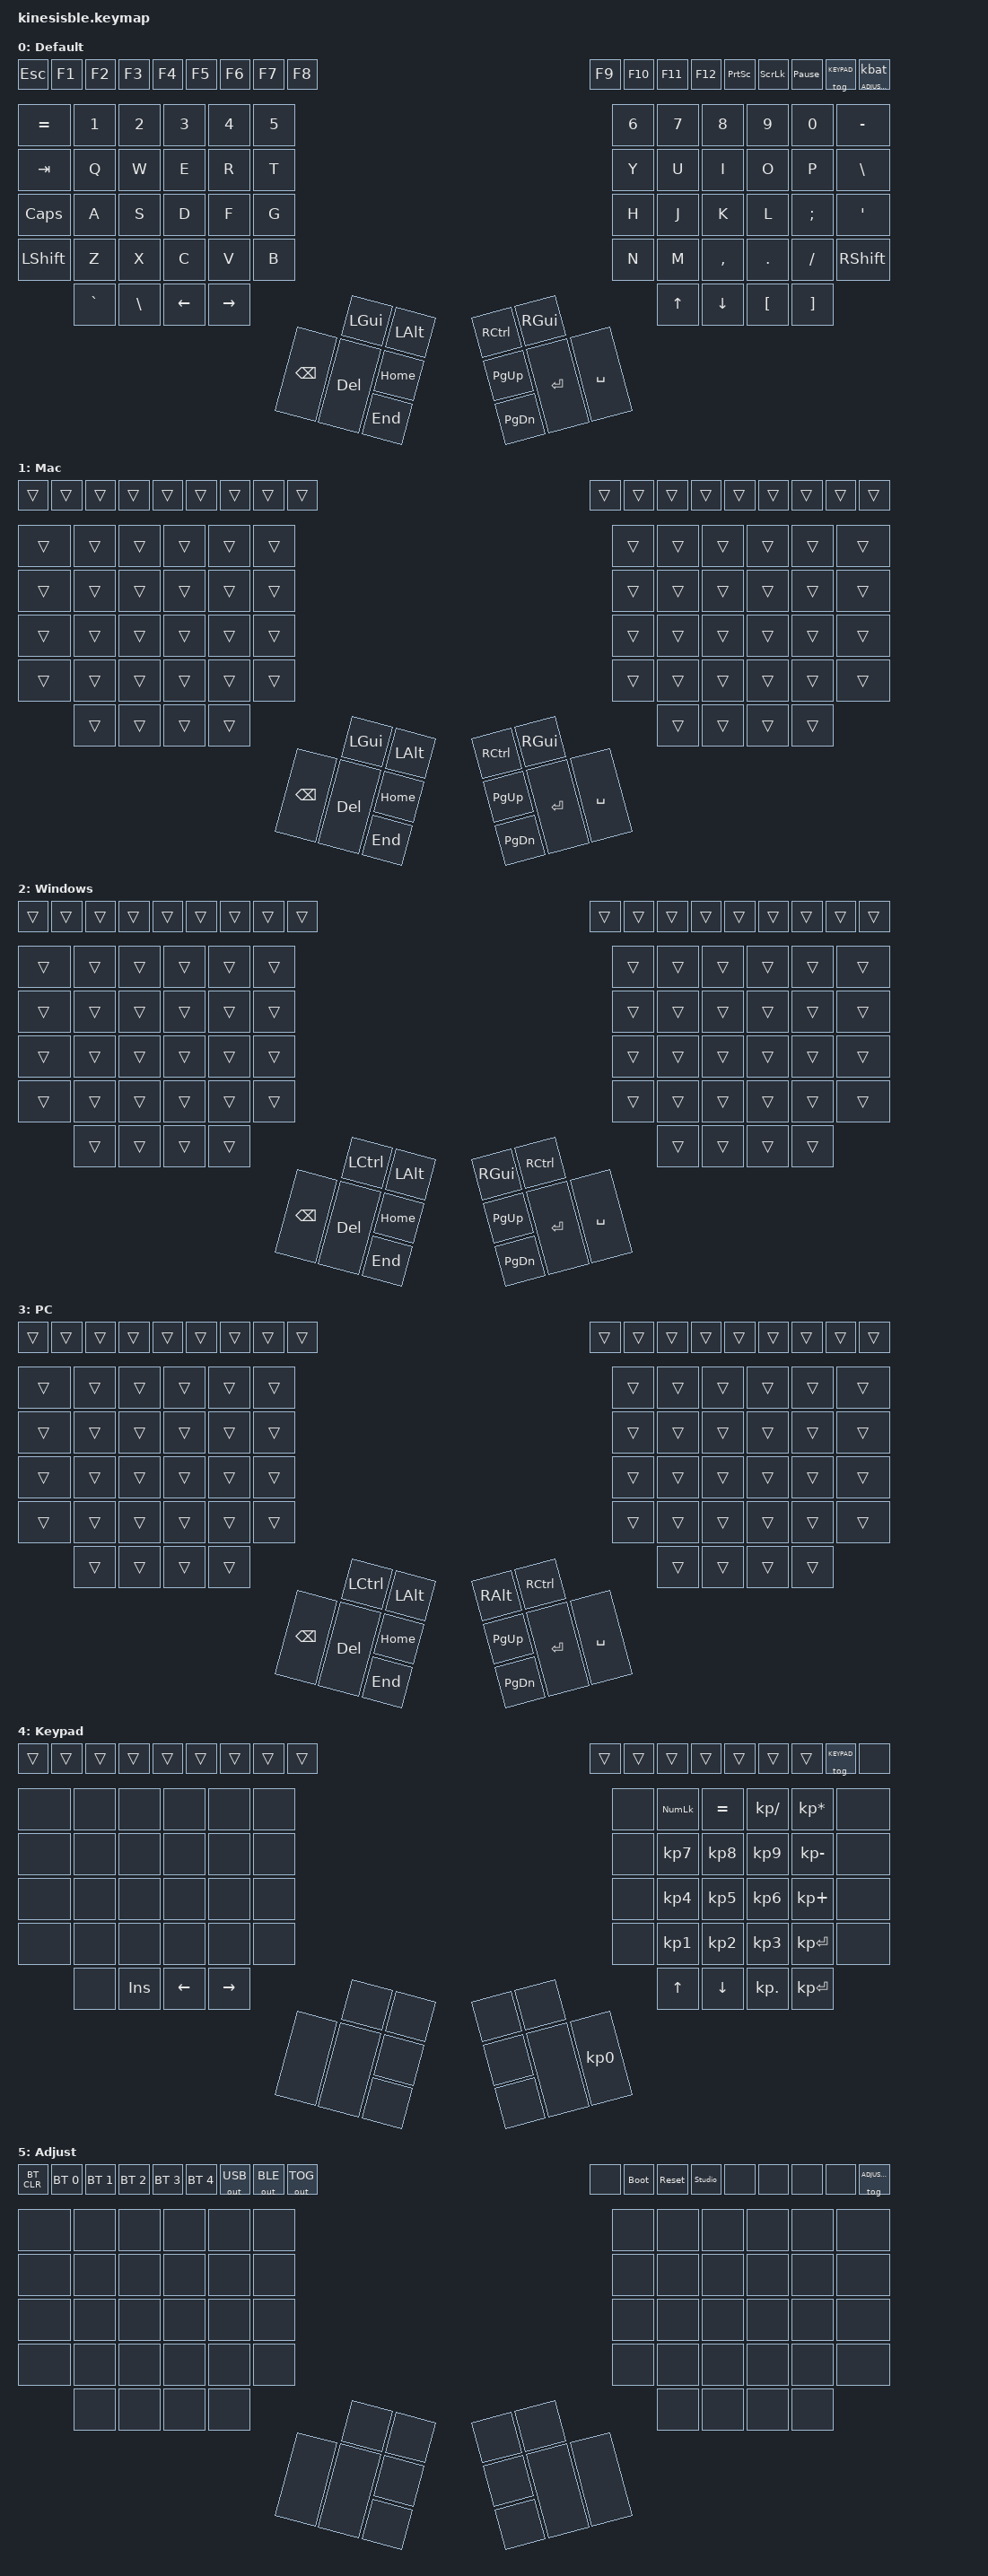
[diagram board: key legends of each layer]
/*
 * Copyright (c) 2021 The ZMK Contributors
 *
 * SPDX-License-Identifier: MIT
 */

#include <behaviors.dtsi>
#include <dt-bindings/zmk/keys.h>
#include <dt-bindings/zmk/bt.h>
#include <dt-bindings/zmk/outputs.h>

#define DEFAULT 0
#define MAC   1
#define WINDOWS   2
#define PC   3
#define KEYPAD   4
#define ADJUSTMENT   5
#define COMBO(NAME, BINDINGS, KEYPOS) \
combo_##NAME { \
    timeout-ms = <50>; \
    bindings = <BINDINGS>; \
    key-positions = <KEYPOS>; \
    layers = <0 1 2 3>; \
};

/ {
    behaviors {
        // Program key: hold to toggle a layer, tap to show the battery level
        prog_key: program_key {
            compatible = "zmk,behavior-hold-tap";
            display-name = "Program Key";
            #binding-cells = <2>;
            tapping-term-ms = <500>;
            bindings = <&tog>, <&kbat>;
            hold-trigger-on-release;
        };
    };

    combos {
        compatible = "zmk,combos";
        COMBO(win, &to WINDOWS, 18 32) // = + w
        COMBO(pc, &to PC, 18 40) // = + p
        COMBO(mac, &to MAC, 18 61) // = + m
        COMBO(keypad, &to KEYPAD, 18 50) // = + k
    };

    keymap0: keymap {
        compatible = "zmk,keymap";

        // default layer matches printing on keyboard
        default_layer {
            display-name = "Default";
            bindings = <
            &kp ESC   &kp F1    &kp F2   &kp F3    &kp F4    &kp F5    &kp F6   &kp F7   &kp F8
            &kp F9   &kp F10  &kp F11   &kp F12  &kp PSCRN &kp SLCK  &kp PAUSE_BREAK &tog KEYPAD &prog_key ADJUSTMENT 0
            &kp EQUAL &kp N1    &kp N2   &kp N3    &kp N4    &kp N5          &kp N6   &kp N7   &kp N8    &kp N9   &kp N0   &kp MINUS
            &kp TAB   &kp Q     &kp W    &kp E     &kp R     &kp T           &kp Y    &kp U    &kp I     &kp O    &kp P    &kp BSLH
            &kp CLCK  &kp A     &kp S    &kp D     &kp F     &kp G           &kp H    &kp J    &kp K     &kp L    &kp SEMI &kp SQT
            &kp LSHFT &kp Z     &kp X    &kp C     &kp V     &kp B           &kp N    &kp M    &kp COMMA &kp DOT  &kp FSLH &kp RSHFT
            &kp GRAVE &kp BSLH &kp LEFT  &kp RIGHT                          &kp UP   &kp DOWN  &kp LBKT &kp RBKT
            &kp LGUI &kp LALT        &kp RCTRL &kp RGUI
            &kp BSPC  &kp DEL   &kp HOME        &kp PG_UP &kp ENTER &kp SPACE
            &kp END         &kp PG_DN
            >;
        };
        mac_layer {
            display-name = "Mac";
            bindings = <
            &trans &trans  &trans  &trans  &trans  &trans &trans &trans &trans  &trans &trans &trans  &trans &trans &trans &trans &trans &trans
            &trans  &trans  &trans  &trans  &trans  &trans                                      &trans  &trans  &trans  &trans  &trans  &trans
            &trans  &trans  &trans  &trans  &trans  &trans                                      &trans  &trans  &trans  &trans  &trans  &trans
            &trans  &trans  &trans  &trans  &trans  &trans                                      &trans  &trans  &trans  &trans  &trans  &trans
            &trans  &trans  &trans  &trans  &trans  &trans                                      &trans  &trans  &trans  &trans  &trans  &trans
            &trans  &trans  &trans  &trans                                      &trans  &trans  &trans  &trans
            &kp LGUI &kp LALT        &kp RCTRL &kp RGUI
            &kp BSPC  &kp DEL   &kp HOME        &kp PG_UP &kp ENTER &kp SPACE
            &kp END         &kp PG_DN
            >;
        };
        windows_layer {
            display-name = "Windows";
            bindings = <
            &trans &trans  &trans  &trans  &trans  &trans &trans &trans &trans  &trans &trans &trans  &trans &trans &trans &trans &trans &trans
            &trans  &trans  &trans  &trans  &trans  &trans                                      &trans  &trans  &trans  &trans  &trans  &trans
            &trans  &trans  &trans  &trans  &trans  &trans                                      &trans  &trans  &trans  &trans  &trans  &trans
            &trans  &trans  &trans  &trans  &trans  &trans                                      &trans  &trans  &trans  &trans  &trans  &trans
            &trans  &trans  &trans  &trans  &trans  &trans                                      &trans  &trans  &trans  &trans  &trans  &trans
            &trans  &trans  &trans  &trans                                      &trans  &trans  &trans  &trans
            &kp LCTRL &kp LALT        &kp RGUI &kp RCTRL
            &kp BSPC  &kp DEL   &kp HOME        &kp PG_UP &kp ENTER &kp SPACE
            &kp END         &kp PG_DN
            >;
        };
        pc_layer {
            display-name = "PC";
            bindings = <
            &trans &trans  &trans  &trans  &trans  &trans &trans &trans &trans  &trans &trans &trans  &trans &trans &trans &trans &trans &trans
            &trans  &trans  &trans  &trans  &trans  &trans                                      &trans  &trans  &trans  &trans  &trans  &trans
            &trans  &trans  &trans  &trans  &trans  &trans                                      &trans  &trans  &trans  &trans  &trans  &trans
            &trans  &trans  &trans  &trans  &trans  &trans                                      &trans  &trans  &trans  &trans  &trans  &trans
            &trans  &trans  &trans  &trans  &trans  &trans                                      &trans  &trans  &trans  &trans  &trans  &trans
            &trans  &trans  &trans  &trans                                      &trans  &trans  &trans  &trans
            &kp LCTRL &kp LALT        &kp RALT &kp RCTRL
            &kp BSPC  &kp DEL   &kp HOME        &kp PG_UP &kp ENTER &kp SPACE
            &kp END         &kp PG_DN
            >;
        };
        keypad_layer {
            display-name = "Keypad";
            bindings = <
            &trans &trans  &trans  &trans  &trans  &trans &trans &trans &trans  &trans &trans &trans  &trans &trans &trans &trans &tog KEYPAD &none
            &none       &none        &none         &none        &none        &none        &none     &kp KP_NUM  &kp EQUAL &kp KP_SLASH  &kp KP_MULTIPLY &none
            &none       &none        &none         &none        &none        &none        &none     &kp KP_N7   &kp KP_N8    &kp KP_N9     &kp KP_MINUS    &none
            &none       &none        &none         &none        &none        &none        &none     &kp KP_N4   &kp KP_N5    &kp KP_N6     &kp KP_PLUS     &none
            &none      &none        &none         &none        &none        &none        &none     &kp KP_N1   &kp KP_N2    &kp KP_N3     &kp KP_ENTER    &none
            &none       &kp INS       &kp LEFT     &kp RIGHT                           &kp UP      &kp DOWN     &kp KP_DOT    &kp KP_ENTER
            &none  &none                        &none  &none
            &none  &none  &none                        &none  &none &kp KP_N0
            &none                        &none
            >;
        };
        adjustment_layer {
            display-name = "Adjust";
            bindings = <
            &bt BT_CLR &bt BT_SEL 0  &bt BT_SEL 1  &bt BT_SEL 2  &bt BT_SEL 3  &bt BT_SEL 4 &out OUT_USB &out OUT_BLE &out OUT_TOG  &none &bootloader &sys_reset  &studio_unlock &none &none &none &none &tog ADJUSTMENT
            &none  &none  &none  &none  &none  &none                                      &none  &none  &none  &none  &none  &none
            &none  &none  &none  &none  &none  &none                                      &none  &none  &none  &none  &none  &none
            &none  &none  &none  &none  &none  &none                                      &none  &none  &none  &none  &none  &none
            &none  &none  &none  &none  &none  &none                                      &none  &none  &none  &none  &none  &none
            &none  &none  &none  &none                                      &none  &none  &none  &none
            &none  &none                        &none  &none
            &none  &none  &none                        &none  &none &none
            &none                        &none
            >;
        };

    };
};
